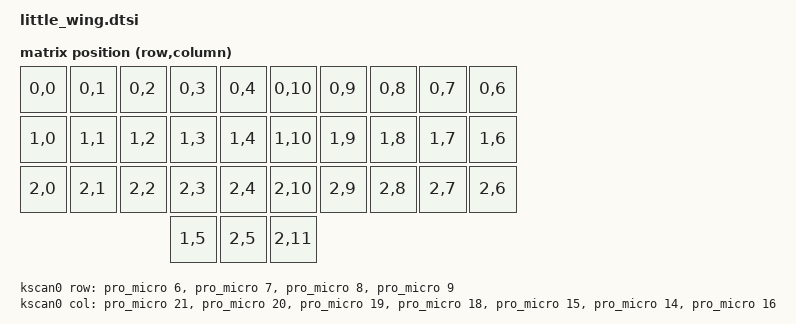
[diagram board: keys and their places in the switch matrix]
#include <dt-bindings/zmk/matrix_transform.h>

/ {
    chosen {
        zmk,physical-layout = &default_layout;
        zmk,underglow = &led_strip;
    };

    default_layout: default_layout {
        compatible = "zmk,physical-layout";
        display-name = "Default Layout";
        transform = <&default_transform>;
        kscan = <&kscan0>;
    };

    default_transform: keymap_transform_0 {
        compatible = "zmk,matrix-transform";
        columns = <12>;
        rows = <3>;
        map = <
	        RC(0,0) RC(0,1) RC(0,2) RC(0,3) RC(0,4)     RC(0,10) RC(0,9) RC(0,8) RC(0,7) RC(0,6)
	        RC(1,0) RC(1,1) RC(1,2) RC(1,3) RC(1,4)     RC(1,10) RC(1,9) RC(1,8) RC(1,7) RC(1,6)
	        RC(2,0) RC(2,1) RC(2,2) RC(2,3) RC(2,4)     RC(2,10) RC(2,9) RC(2,8) RC(2,7) RC(2,6)
						            RC(1,5) RC(2,5)     RC(2,11)
        >;
    };

    kscan0: kscan0 {
        compatible = "zmk,kscan-gpio-matrix";
        diode-direction = "col2row";
        wakeup-source;

        row-gpios
            = <&pro_micro 6 (GPIO_ACTIVE_HIGH | GPIO_PULL_DOWN)> // 0
            , <&pro_micro 7 (GPIO_ACTIVE_HIGH | GPIO_PULL_DOWN)> // 1
            , <&pro_micro 8 (GPIO_ACTIVE_HIGH | GPIO_PULL_DOWN)> // 2
            , <&pro_micro 9 (GPIO_ACTIVE_HIGH | GPIO_PULL_DOWN)> // not used
            ;

        col-gpios
            = <&pro_micro 21 GPIO_ACTIVE_HIGH> // 0, 6
            , <&pro_micro 20 GPIO_ACTIVE_HIGH> // 1, 7
            , <&pro_micro 19 GPIO_ACTIVE_HIGH> // 2, 8
            , <&pro_micro 18 GPIO_ACTIVE_HIGH> // 3, 9
            , <&pro_micro 15 GPIO_ACTIVE_HIGH> // 4, 10
            , <&pro_micro 14 GPIO_ACTIVE_HIGH> // 5, 11
            , <&pro_micro 16 GPIO_ACTIVE_HIGH> // not used
        ;
    };

    split_inputs {
		#address-cells = <1>;
		#size-cells = <0>;

		trackball_split: trackball_split@0 {
			compatible = "zmk,input-split";
			reg = <0>;
		};
	};

    trackball_listener: trackball_listener {
        compatible = "zmk,input-listener";
        status = "disabled";
        device = <&trackball_split>;
    };
};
